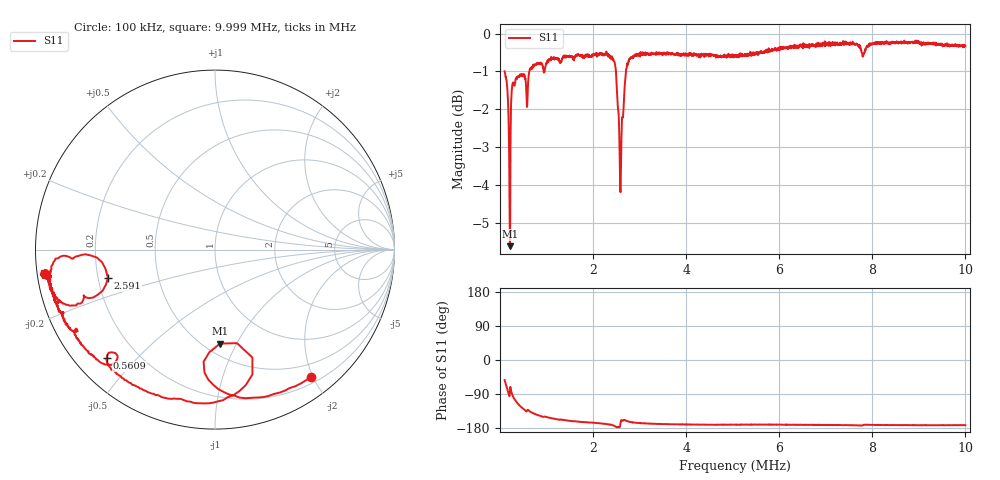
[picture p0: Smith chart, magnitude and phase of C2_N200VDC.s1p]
# HZ S RI R 50
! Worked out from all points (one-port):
!   2020 points, 100 kHz to 9.999 MHz, reference 50 ohm
!   lowest |S11| = -5.6 dB at 212.8 kHz (marker M1), VSWR 3.20, Z = 29.8 - j43 ohm
!   |S11| at or under -10 dB: nowhere
!   S11 on the Smith chart (normalised r, x): 100 kHz: 0.28, -1.97; 560.9 kHz: 0.09, -0.41; 2.591 MHz: 0.24, -0.12; 9.999 MHz: 0.02, -0.07
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100000  0.5368 -0.7118
139224  0.3008 -0.8145
163739  0.1374 -0.8246
212769  0.0285 -0.5233
266702  -0.0326 -0.8561
305926  -0.1832 -0.8352
428501  -0.4545 -0.7544
511852  -0.5614 -0.675
560882  -0.6029 -0.603
649136  -0.6481 -0.6208
845256  -0.7621 -0.4995
1340459  -0.8576 -0.3543
2419119  -0.9203 -0.1296
2473052  -0.9052 -0.0852
2531888  -0.8002 -0.049
2576015  -0.6587 -0.0442
2590724  -0.597 -0.1572
2625045  -0.731 -0.2594
2659366  -0.7488 -0.3007
2742717  -0.8687 -0.2839
2835874  -0.8968 -0.2492
3816474  -0.9268 -0.1667
5052030  -0.9208 -0.1498
6287586  -0.9486 -0.1511
7528045  -0.9639 -0.14
7812419  -0.9269 -0.1433
8763601  -0.9623 -0.1373
9999157  -0.953 -0.133
